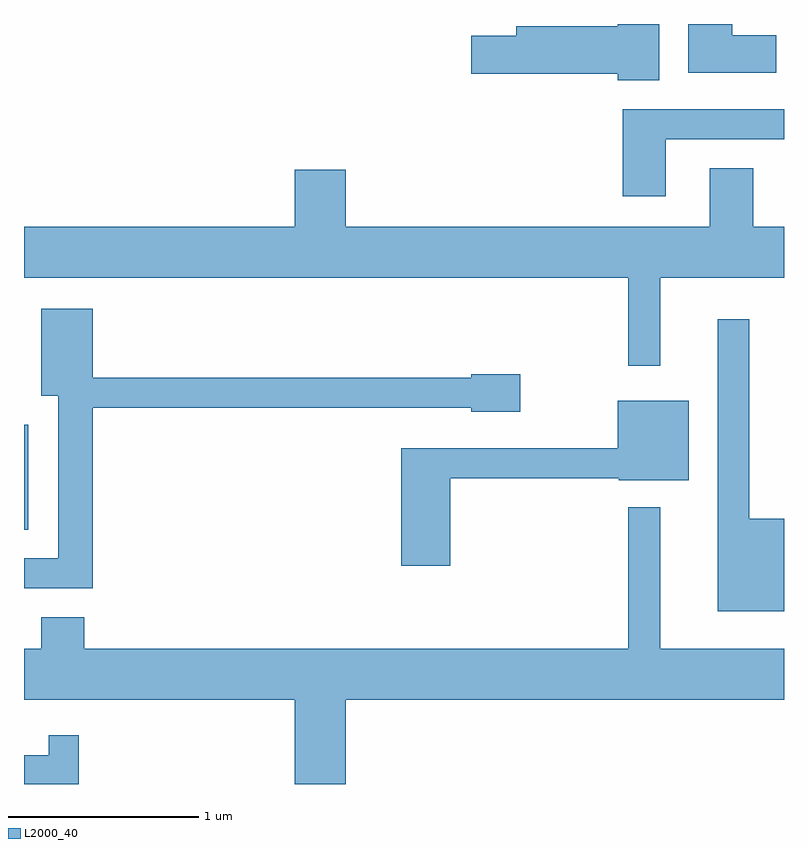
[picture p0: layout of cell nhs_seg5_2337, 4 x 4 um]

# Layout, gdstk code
import gdstk
lib = gdstk.Library(unit=1e-6, precision=1e-09)
def R(c, l, rs):  # rectangles x0, y0, x1, y1
    for r in rs: c.add(gdstk.rectangle(r[:2], r[2:], *l))
def P(c, l, *ps):  # polygons
    for p in ps: c.add(gdstk.Polygon(p, *l))
L2000_40 = (2000, 40)

nhs_seg5_2337 = lib.new_cell('nhs_seg5_2337')
R(nhs_seg5_2337, L2000_40, [(253.611,1515.411,253.634,1515.964)])
P(nhs_seg5_2337, L2000_40, [(257.569,1518.014),(257.339,1518.014),(257.339,1518.072),(257.106,1518.072),(257.106,1517.816),(257.569,1517.816)],
  [(256.954,1518.072),(256.736,1518.072),(256.736,1518.059),(256.201,1518.059),(256.201,1518.009),(255.966,1518.009),(255.966,1517.811),(256.736,1517.811),(256.736,1517.776),(256.954,1517.776)],
  [(256.989,1517.466),(257.611,1517.466),(257.611,1517.624),(256.761,1517.624),(256.761,1517.166),(256.989,1517.166)],
  [(256.959,1516.736),(257.611,1516.736),(257.611,1517.004),(257.449,1517.004),(257.449,1517.314),(257.221,1517.314),(257.221,1517.004),(255.304,1517.004),(255.304,1517.304),(255.036,1517.304),(255.036,1517.004),(253.611,1517.004),(253.611,1516.736),(256.791,1516.736),(256.791,1516.273),(256.959,1516.273)],
  [(253.974,1516.051),(255.966,1516.051),(255.966,1516.031),(256.224,1516.031),(256.224,1516.229),(255.966,1516.229),(255.966,1516.209),(253.974,1516.209),(253.974,1516.574),(253.701,1516.574),(253.701,1516.116),(253.791,1516.116),(253.791,1515.259),(253.611,1515.259),(253.611,1515.101),(253.974,1515.101)],
  [(257.611,1515.469),(257.429,1515.469),(257.429,1516.518),(257.261,1516.518),(257.261,1514.981),(257.611,1514.981)],
  [(255.854,1515.681),(256.74,1515.681),(256.74,1515.671),(257.109,1515.671),(257.109,1516.089),(256.736,1516.089),(256.736,1515.839),(255.596,1515.839),(255.596,1515.221),(255.854,1515.221)],
  [(255.304,1514.516),(257.611,1514.516),(257.611,1514.784),(256.959,1514.784),(256.959,1515.528),(256.791,1515.528),(256.791,1514.784),(253.929,1514.784),(253.929,1514.949),(253.701,1514.949),(253.701,1514.784),(253.611,1514.784),(253.611,1514.516),(255.036,1514.516),(255.036,1514.072),(255.304,1514.072)],
  [(253.899,1514.328),(253.741,1514.328),(253.741,1514.224),(253.611,1514.224),(253.611,1514.072),(253.899,1514.072)])

lib.write_gds('nhs_seg5_2337.gds')
